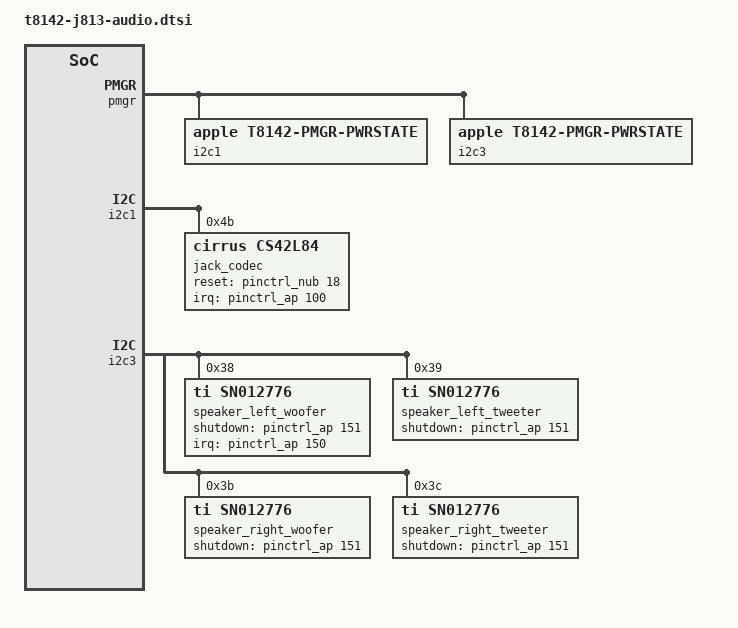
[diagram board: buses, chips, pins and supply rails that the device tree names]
// SPDX-License-Identifier: GPL-2.0+ OR MIT
/*
 * Apple MacBook Air (13-inch, M5) J813: sound through the AOP firmware.
 *
 * As on J873 (T8152), the AOP's AOPAudioService owns the audio fabric and
 * runs the MCA serializers: "cout"/"cin" (CS42L84 headphone jack) on
 * admac-base-ns TX2/RX2 and "spkr" (four SN012776) on TX0, their V/I sense
 * on RX0 (ADT iop-audio-controller; RX1 is the firmware's speaker tap).
 * The AOP itself is laid out like T8140's (ascwrap-v6, asc-mailbox-v4),
 * including the setup port.
 * Addresses are from the J813 ADT (arm-io offset 0x210000000).
 */

#include <dt-bindings/gpio/gpio.h>

&pmgr {
	ps_i2c1: power-controller@350 {
		compatible = "apple,t8142-pmgr-pwrstate", "apple,t8103-pmgr-pwrstate";
		reg = <0x350 4>;
		#power-domain-cells = <0>;
		#reset-cells = <0>;
		label = "i2c1";
	};

	ps_i2c3: power-controller@360 {
		compatible = "apple,t8142-pmgr-pwrstate", "apple,t8103-pmgr-pwrstate";
		reg = <0x360 4>;
		#power-domain-cells = <0>;
		#reset-cells = <0>;
		label = "i2c3";
	};
};

&{/soc} {
	pinctrl_ap: pinctrl@39a000000 {
		compatible = "apple,t8142-pinctrl", "apple,t8140-pinctrl", "apple,t8103-pinctrl";
		reg = <0x3 0x9a000000 0x0 0x100000>;
		gpio-controller;
		#gpio-cells = <2>;
		gpio-ranges = <&pinctrl_ap 0 0 224>;
		apple,npins = <224>;
		/*
		 * Not every pin is the AP's: reading pin 78's register raises
		 * an SError. Expose only the pins sound uses: 100 (jack IRQ),
		 * 150 (amp IRQ) and 151 (amp shutdown).
		 */
		gpio-reserved-ranges = <0 100>, <101 49>, <152 72>;
		interrupt-controller;
		#interrupt-cells = <2>;
		interrupt-parent = <&aic>;
		interrupts = <AIC_IRQ 347 IRQ_TYPE_LEVEL_HIGH>,
			     <AIC_IRQ 348 IRQ_TYPE_LEVEL_HIGH>,
			     <AIC_IRQ 349 IRQ_TYPE_LEVEL_HIGH>,
			     <AIC_IRQ 350 IRQ_TYPE_LEVEL_HIGH>,
			     <AIC_IRQ 351 IRQ_TYPE_LEVEL_HIGH>,
			     <AIC_IRQ 352 IRQ_TYPE_LEVEL_HIGH>,
			     <AIC_IRQ 353 IRQ_TYPE_LEVEL_HIGH>;
	};

	pinctrl_nub: pinctrl@3881f0000 {
		compatible = "apple,t8142-pinctrl", "apple,t8140-pinctrl", "apple,t8103-pinctrl";
		reg = <0x3 0x881f0000 0x0 0x4000>;
		gpio-controller;
		#gpio-cells = <2>;
		gpio-ranges = <&pinctrl_nub 0 0 40>;
		apple,npins = <40>;
		/* Only pin 18 (jack codec reset), as on pinctrl_ap. */
		gpio-reserved-ranges = <0 18>, <19 21>;
		interrupt-controller;
		#interrupt-cells = <2>;
		interrupt-parent = <&aic>;
		interrupts = <AIC_IRQ 574 IRQ_TYPE_LEVEL_HIGH>,
			     <AIC_IRQ 575 IRQ_TYPE_LEVEL_HIGH>,
			     <AIC_IRQ 576 IRQ_TYPE_LEVEL_HIGH>,
			     <AIC_IRQ 577 IRQ_TYPE_LEVEL_HIGH>,
			     <AIC_IRQ 578 IRQ_TYPE_LEVEL_HIGH>,
			     <AIC_IRQ 579 IRQ_TYPE_LEVEL_HIGH>,
			     <AIC_IRQ 580 IRQ_TYPE_LEVEL_HIGH>;
	};

	pmgr_aop: power-management@388284000 {
		compatible = "apple,t8142-pmgr", "apple,t8103-pmgr", "syscon", "simple-mfd";
		reg = <0x3 0x88284000 0x0 0x4000>;
		#address-cells = <1>;
		#size-cells = <1>;

		/*
		 * Only the MCA serializer leaves (ADT AUDIO_MCA0_M..AUDIO_MCA5_M)
		 * are the AP's, as on J873. Their parents AUDIO_A, AUDIO_FR,
		 * AUDIO_P and AUDIO_BASE_NS_A (0x80, 0xb8, 0xd8, 0xf8) are the AOP
		 * firmware's: iBoot leaves them off, the firmware's audio init
		 * switches them off and polls for that (an AP-held auto-enable
		 * made it time out with 0xe00002d6, so "aop-audio" never
		 * registered and the firmware panicked in systemReady), and a
		 * service's pw0 request raises them again.
		 *
		 * Likewise the microphone array's LEAP leaves (AUDIO_LEAP_MCA,
		 * AUDIO_LEAP_S_A, AUDIO_LEAP_RX0) without their parents
		 * AUDIO_LEAP_C and AUDIO_LEAP_A (0x138, 0xe0); hpai's pw0 raises
		 * those.
		 */
		ps_audio_leap_mca: power-controller@100 {
			compatible = "apple,t8142-pmgr-pwrstate", "apple,t8103-pmgr-pwrstate";
			reg = <0x100 4>;
			#power-domain-cells = <0>;
			#reset-cells = <0>;
			label = "audio_leap_mca";
		};

		ps_audio_mca0_m: power-controller@108 {
			compatible = "apple,t8142-pmgr-pwrstate", "apple,t8103-pmgr-pwrstate";
			reg = <0x108 4>;
			#power-domain-cells = <0>;
			#reset-cells = <0>;
			label = "audio_mca0_m";
		};

		ps_audio_mca1_m: power-controller@110 {
			compatible = "apple,t8142-pmgr-pwrstate", "apple,t8103-pmgr-pwrstate";
			reg = <0x110 4>;
			#power-domain-cells = <0>;
			#reset-cells = <0>;
			label = "audio_mca1_m";
		};

		ps_audio_mca2_m: power-controller@118 {
			compatible = "apple,t8142-pmgr-pwrstate", "apple,t8103-pmgr-pwrstate";
			reg = <0x118 4>;
			#power-domain-cells = <0>;
			#reset-cells = <0>;
			label = "audio_mca2_m";
		};

		ps_audio_mca3_m: power-controller@120 {
			compatible = "apple,t8142-pmgr-pwrstate", "apple,t8103-pmgr-pwrstate";
			reg = <0x120 4>;
			#power-domain-cells = <0>;
			#reset-cells = <0>;
			label = "audio_mca3_m";
		};

		ps_audio_mca4_m: power-controller@128 {
			compatible = "apple,t8142-pmgr-pwrstate", "apple,t8103-pmgr-pwrstate";
			reg = <0x128 4>;
			#power-domain-cells = <0>;
			#reset-cells = <0>;
			label = "audio_mca4_m";
		};

		ps_audio_mca5_m: power-controller@130 {
			compatible = "apple,t8142-pmgr-pwrstate", "apple,t8103-pmgr-pwrstate";
			reg = <0x130 4>;
			#power-domain-cells = <0>;
			#reset-cells = <0>;
			label = "audio_mca5_m";
		};

		ps_audio_leap_s_a: power-controller@140 {
			compatible = "apple,t8142-pmgr-pwrstate", "apple,t8103-pmgr-pwrstate";
			reg = <0x140 4>;
			#power-domain-cells = <0>;
			#reset-cells = <0>;
			label = "audio_leap_s_a";
		};

		ps_audio_leap_rx0: power-controller@150 {
			compatible = "apple,t8142-pmgr-pwrstate", "apple,t8103-pmgr-pwrstate";
			reg = <0x150 4>;
			#power-domain-cells = <0>;
			#reset-cells = <0>;
			label = "audio_leap_rx0";
		};
	};

	aop_mbox: mailbox@390608000 {
		compatible = "apple,t8142-asc-mailbox", "apple,asc-mailbox-v4";
		reg = <0x3 0x90608000 0x0 0x4000>;
		interrupt-parent = <&aic>;
		interrupts = <AIC_IRQ 490 IRQ_TYPE_LEVEL_HIGH>,
			     <AIC_IRQ 491 IRQ_TYPE_LEVEL_HIGH>,
			     <AIC_IRQ 492 IRQ_TYPE_LEVEL_HIGH>,
			     <AIC_IRQ 493 IRQ_TYPE_LEVEL_HIGH>;
		interrupt-names = "send-empty", "send-not-empty",
				  "recv-empty", "recv-not-empty";
		#mbox-cells = <0>;
	};

	/*
	 * The ADT's aop-exclave-mailbox, flagged exclave-assigned as on T8140,
	 * is the AOP setup port the host drives. Its ADT reg (0x3d067c000) is
	 * not behind the arm-io translation: AOP ASC + 0x4007c000, as on
	 * T8140. ADT interrupts [497, 494], T8140's +100.
	 */
	aop_setup_mbox: mailbox@3d067c000 {
		compatible = "apple,t8142-aop-setup-mailbox", "apple,t8140-aop-setup-mailbox";
		reg = <0x3 0xd067c000 0x0 0x4000>;
		interrupt-parent = <&aic>;
		interrupts = <AIC_IRQ 494 IRQ_TYPE_LEVEL_HIGH>,
			     <AIC_IRQ 497 IRQ_TYPE_LEVEL_HIGH>;
		interrupt-names = "send-empty", "recv-not-empty";
		/* dart-aop stream 1: ADT vm-base-1 0x20000000000, as on T8140. */
		iommus = <&aop_dart 1>;
		apple,dma-range = <0x200 0x0 0x10 0x0>;
		#mbox-cells = <0>;
	};

	/*
	 * dart-aop: streams 0 (AOP), 3, 8 (admac-base-ns), 10 and 16 are the
	 * AP's; 1, 9 and 11 are exclave streams, of which the host drives 1
	 * (setup port) and 11 (admac-leap-s) on the raw boot. As on T8140, the
	 * firmware's own mappings own the first slot, host buffers go above it.
	 */
	aop_dart: iommu@390fc0000 {
		compatible = "apple,t8142-dart", "apple,t8110-dart";
		reg = <0x3 0x90fc0000 0x0 0xc000>;
		#iommu-cells = <1>;
		interrupt-parent = <&aic>;
		interrupts = <AIC_IRQ 528 IRQ_TYPE_LEVEL_HIGH>;
	};

	admac_base_ns: dma-controller@393800000 {
		compatible = "apple,t8140-admac";
		reg = <0x3 0x93800000 0x0 0x34000>;
		dma-channels = <13>;
		interrupts-extended = <&aic AIC_IRQ 549 IRQ_TYPE_LEVEL_HIGH>,
				      <0>, <0>, <0>;
		#dma-cells = <1>;
		iommus = <&aop_dart 8>;
		apple,dma-range = <0x110 0x00000000 0x0 0x10000000>;
	};

	/*
	 * admac-leap-s, for the microphone array (ADT audio-hp-mic ->
	 * leap-s-adma-rx-0), through its admac-leap-s-rx-0-proxy aperture as
	 * on T8140: the direct window (0x393200000) faults on per-channel
	 * registers. dart-aop stream 11 with the ADT's vm-base-11/vm-size-11.
	 * No power domain: the channel registers answer only with the LEAP
	 * leaves up, which the audio driver raises (after hpai's pw0) before
	 * it requests the channel; the controller touches no register at
	 * probe. No resets: the firmware owns the LEAP.
	 */
	admac_leap_s: dma-controller@3d3200000 {
		compatible = "apple,t8140-admac";
		reg = <0x3 0xd3200000 0x0 0x34000>;
		dma-channels = <9>;
		interrupts-extended = <&aic AIC_IRQ 551 IRQ_TYPE_LEVEL_HIGH>,
				      <0>, <0>, <0>;
		#dma-cells = <1>;
		iommus = <&aop_dart 11>;
		apple,dma-range = <0x100 0x40000000 0x0 0xffff0000>;
	};

	i2c1: i2c@3a5014000 {
		compatible = "apple,t8142-i2c", "apple,t8103-i2c";
		reg = <0x3 0xa5014000 0x0 0x4000>;
		clocks = <&clkref>;
		interrupt-parent = <&aic>;
		interrupts = <AIC_IRQ 1248 IRQ_TYPE_LEVEL_HIGH>;
		#address-cells = <1>;
		#size-cells = <0>;
		power-domains = <&ps_i2c1>;

		jack_codec: codec@4b {
			compatible = "cirrus,cs42l84";
			reg = <0x4b>;
			reset-gpios = <&pinctrl_nub 18 GPIO_ACTIVE_HIGH>;
			interrupts-extended = <&pinctrl_ap 100 IRQ_TYPE_LEVEL_LOW>;
			#sound-dai-cells = <0>;
			sound-name-prefix = "Jack";
		};
	};

	/*
	 * Four SN012776: left woofer (0x38, carries the shared shutdown and
	 * interrupt lines), left tweeter, right woofer, right tweeter. The ADT
	 * speaker-config lists them as 0x38, then its speaker1..3 (right
	 * woofer, left tweeter, right tweeter): playback slots 0-3 and V/I
	 * sense in 8-bit slots 0/2, 4/6, 8/10, 12/14 in that order. The sense
	 * returns on two lines, the left pair and the right pair; the woofers
	 * drive the other pair's slots to zero (ADT amp-tx-zd-config, see the
	 * speaker dai-link). The firmware's speaker frame is 250 BCLKs of
	 * 12 MHz (ADT audio-speaker stream), which the amplifiers' ratio
	 * detection rejects.
	 */
	i2c3: i2c@3a501c000 {
		compatible = "apple,t8142-i2c", "apple,t8103-i2c";
		reg = <0x3 0xa501c000 0x0 0x4000>;
		clocks = <&clkref>;
		interrupt-parent = <&aic>;
		interrupts = <AIC_IRQ 1250 IRQ_TYPE_LEVEL_HIGH>;
		#address-cells = <1>;
		#size-cells = <0>;
		power-domains = <&ps_i2c3>;

		speaker_left_woofer: codec@38 {
			compatible = "ti,sn012776", "ti,tas2764";
			reg = <0x38>;
			shutdown-gpios = <&pinctrl_ap 151 GPIO_ACTIVE_HIGH>;
			interrupts-extended = <&pinctrl_ap 150 IRQ_TYPE_LEVEL_LOW>;
			#sound-dai-cells = <0>;
			sound-name-prefix = "Left Woofer";
			ti,imon-slot-no = <2>;
			ti,vmon-slot-no = <0>;
			ti,bclk-ratio = <250>;
		};

		speaker_left_tweeter: codec@39 {
			compatible = "ti,sn012776", "ti,tas2764";
			reg = <0x39>;
			shutdown-gpios = <&pinctrl_ap 151 GPIO_ACTIVE_HIGH>;
			#sound-dai-cells = <0>;
			sound-name-prefix = "Left Tweeter";
			ti,imon-slot-no = <10>;
			ti,vmon-slot-no = <8>;
			ti,bclk-ratio = <250>;
		};

		speaker_right_woofer: codec@3b {
			compatible = "ti,sn012776", "ti,tas2764";
			reg = <0x3b>;
			shutdown-gpios = <&pinctrl_ap 151 GPIO_ACTIVE_HIGH>;
			#sound-dai-cells = <0>;
			sound-name-prefix = "Right Woofer";
			ti,imon-slot-no = <6>;
			ti,vmon-slot-no = <4>;
			ti,bclk-ratio = <250>;
		};

		speaker_right_tweeter: codec@3c {
			compatible = "ti,sn012776", "ti,tas2764";
			reg = <0x3c>;
			shutdown-gpios = <&pinctrl_ap 151 GPIO_ACTIVE_HIGH>;
			#sound-dai-cells = <0>;
			sound-name-prefix = "Right Tweeter";
			ti,imon-slot-no = <14>;
			ti,vmon-slot-no = <12>;
			ti,bclk-ratio = <250>;
		};
	};

	aop: aop@390c00000 {
		compatible = "apple,t8142-aop", "apple,t8152-aop";
		reg = <0x3 0x90c00000 0x0 0x1e0000>,
		      <0x3 0x90600000 0x0 0x4000>;
		reg-names = "mmio", "asc";
		mboxes = <&aop_mbox>, <&aop_setup_mbox>;
		mbox-names = "mbox", "setup";
		iommus = <&aop_dart 0>;
		apple,dma-range = <0x110 0x0 0x10 0x0>;

		aop_audio: audio {
			compatible = "apple,t8142-aop-audio", "apple,t8152-aop-audio";
			/* The microphone card's name: AppleJ813HPAI. */
			apple,chassis-name = "J813";
			apple,machine-kind = "MacBook Air";
			/* hpai: leap-s RX0 (Linux channel 1, odd = DEV_TO_MEM). */
			dmas = <&admac_base_ns 4>, <&admac_base_ns 5>,
			       <&admac_base_ns 0>, <&admac_base_ns 1>,
			       <&admac_leap_s 1>;
			dma-names = "cout", "cin", "spkr", "sense", "hpai";
			power-domains = <&ps_audio_mca0_m>, <&ps_audio_mca1_m>,
					<&ps_audio_mca2_m>, <&ps_audio_mca3_m>,
					<&ps_audio_mca4_m>, <&ps_audio_mca5_m>,
					<&ps_audio_leap_s_a>, <&ps_audio_leap_rx0>,
					<&ps_audio_leap_mca>;
			power-domain-names = "mca0", "mca1", "mca2",
					     "mca3", "mca4", "mca5",
					     "leap_s_a", "leap_rx0", "leap_mca";
			#sound-dai-cells = <1>;
		};
	};
};

/ {
	sound {
		compatible = "apple,j813-macaudio", "apple,macaudio";
		model = "MacBook Air J813";
		#address-cells = <1>;
		#size-cells = <0>;

		dai-link@0 {
			reg = <0>;
			link-name = "Headphone Jack";

			cpu {
				sound-dai = <&aop_audio 0>;
			};

			codec {
				sound-dai = <&jack_codec>;
			};
		};

		dai-link@1 {
			reg = <1>;
			link-name = "Speaker";
			/*
			 * Codecs in ADT speaker-config order, so that macaudio
			 * gives them playback slots 0-3 as macOS does (left
			 * channels in slots 0 and 2, right in 1 and 3).
			 */
			dai-tdm-idle-mode-0 = "zero";
			dai-tdm-slot-tx-idle-mask-0 = <0xfff0f0f0>;
			dai-tdm-idle-mode-1 = "zero";
			dai-tdm-slot-tx-idle-mask-1 = <0xff0f0f0f>;

			cpu {
				sound-dai = <&aop_audio 3>;
			};

			codec {
				sound-dai = <&speaker_left_woofer>, <&speaker_right_woofer>,
					    <&speaker_left_tweeter>, <&speaker_right_tweeter>;
			};
		};
	};
};
